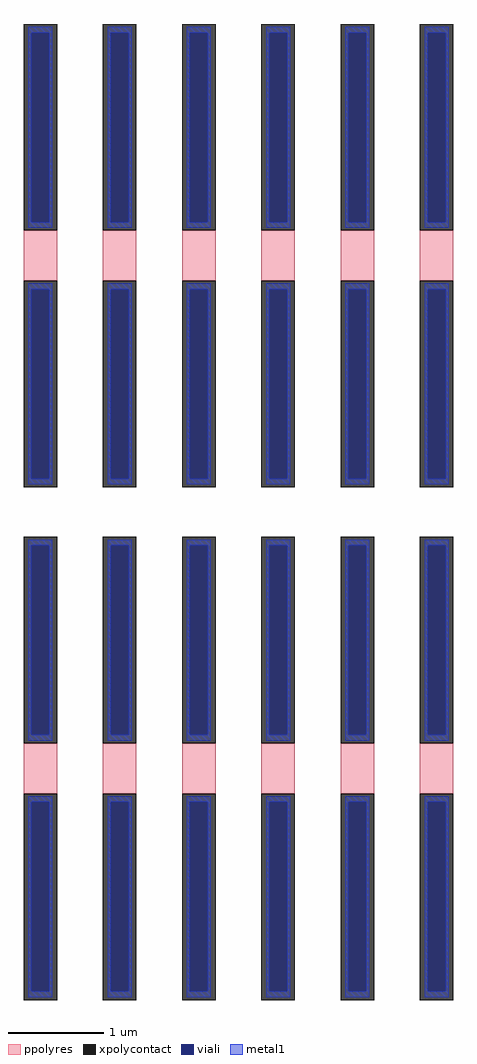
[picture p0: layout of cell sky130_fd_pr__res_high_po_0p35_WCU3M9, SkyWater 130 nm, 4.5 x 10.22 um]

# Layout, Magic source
magic
tech sky130A
magscale 1 2
<< xpolycontact >>
rect -450 590 -380 1022
rect -450 52 -380 484
rect -284 590 -214 1022
rect -284 52 -214 484
rect -118 590 -48 1022
rect -118 52 -48 484
rect 48 590 118 1022
rect 48 52 118 484
rect 214 590 284 1022
rect 214 52 284 484
rect 380 590 450 1022
rect 380 52 450 484
rect -450 -484 -380 -52
rect -450 -1022 -380 -590
rect -284 -484 -214 -52
rect -284 -1022 -214 -590
rect -118 -484 -48 -52
rect -118 -1022 -48 -590
rect 48 -484 118 -52
rect 48 -1022 118 -590
rect 214 -484 284 -52
rect 214 -1022 284 -590
rect 380 -484 450 -52
rect 380 -1022 450 -590
<< ppolyres >>
rect -450 484 -380 590
rect -284 484 -214 590
rect -118 484 -48 590
rect 48 484 118 590
rect 214 484 284 590
rect 380 484 450 590
rect -450 -590 -380 -484
rect -284 -590 -214 -484
rect -118 -590 -48 -484
rect 48 -590 118 -484
rect 214 -590 284 -484
rect 380 -590 450 -484
<< viali >>
rect -434 607 -396 1004
rect -268 607 -230 1004
rect -102 607 -64 1004
rect 64 607 102 1004
rect 230 607 268 1004
rect 396 607 434 1004
rect -434 70 -396 467
rect -268 70 -230 467
rect -102 70 -64 467
rect 64 70 102 467
rect 230 70 268 467
rect 396 70 434 467
rect -434 -467 -396 -70
rect -268 -467 -230 -70
rect -102 -467 -64 -70
rect 64 -467 102 -70
rect 230 -467 268 -70
rect 396 -467 434 -70
rect -434 -1004 -396 -607
rect -268 -1004 -230 -607
rect -102 -1004 -64 -607
rect 64 -1004 102 -607
rect 230 -1004 268 -607
rect 396 -1004 434 -607
<< metal1 >>
rect -440 1004 -390 1016
rect -440 607 -434 1004
rect -396 607 -390 1004
rect -440 595 -390 607
rect -274 1004 -224 1016
rect -274 607 -268 1004
rect -230 607 -224 1004
rect -274 595 -224 607
rect -108 1004 -58 1016
rect -108 607 -102 1004
rect -64 607 -58 1004
rect -108 595 -58 607
rect 58 1004 108 1016
rect 58 607 64 1004
rect 102 607 108 1004
rect 58 595 108 607
rect 224 1004 274 1016
rect 224 607 230 1004
rect 268 607 274 1004
rect 224 595 274 607
rect 390 1004 440 1016
rect 390 607 396 1004
rect 434 607 440 1004
rect 390 595 440 607
rect -440 467 -390 479
rect -440 70 -434 467
rect -396 70 -390 467
rect -440 58 -390 70
rect -274 467 -224 479
rect -274 70 -268 467
rect -230 70 -224 467
rect -274 58 -224 70
rect -108 467 -58 479
rect -108 70 -102 467
rect -64 70 -58 467
rect -108 58 -58 70
rect 58 467 108 479
rect 58 70 64 467
rect 102 70 108 467
rect 58 58 108 70
rect 224 467 274 479
rect 224 70 230 467
rect 268 70 274 467
rect 224 58 274 70
rect 390 467 440 479
rect 390 70 396 467
rect 434 70 440 467
rect 390 58 440 70
rect -440 -70 -390 -58
rect -440 -467 -434 -70
rect -396 -467 -390 -70
rect -440 -479 -390 -467
rect -274 -70 -224 -58
rect -274 -467 -268 -70
rect -230 -467 -224 -70
rect -274 -479 -224 -467
rect -108 -70 -58 -58
rect -108 -467 -102 -70
rect -64 -467 -58 -70
rect -108 -479 -58 -467
rect 58 -70 108 -58
rect 58 -467 64 -70
rect 102 -467 108 -70
rect 58 -479 108 -467
rect 224 -70 274 -58
rect 224 -467 230 -70
rect 268 -467 274 -70
rect 224 -479 274 -467
rect 390 -70 440 -58
rect 390 -467 396 -70
rect 434 -467 440 -70
rect 390 -479 440 -467
rect -440 -607 -390 -595
rect -440 -1004 -434 -607
rect -396 -1004 -390 -607
rect -440 -1016 -390 -1004
rect -274 -607 -224 -595
rect -274 -1004 -268 -607
rect -230 -1004 -224 -607
rect -274 -1016 -224 -1004
rect -108 -607 -58 -595
rect -108 -1004 -102 -607
rect -64 -1004 -58 -607
rect -108 -1016 -58 -1004
rect 58 -607 108 -595
rect 58 -1004 64 -607
rect 102 -1004 108 -607
rect 58 -1016 108 -1004
rect 224 -607 274 -595
rect 224 -1004 230 -607
rect 268 -1004 274 -607
rect 224 -1016 274 -1004
rect 390 -607 440 -595
rect 390 -1004 396 -607
rect 434 -1004 440 -607
rect 390 -1016 440 -1004
<< properties >>
string gencell sky130_fd_pr__res_high_po_0p35
string library sky130
string parameters w 0.350 l 0.69 m 2 nx 6 wmin 0.350 lmin 0.50 rho 319.8 val 1.743k dummy 0 dw 0.0 term 194.82 sterm 0.0 caplen 0 guard 0 glc 1 grc 1 gtc 1 gbc 1 compatible {sky130_fd_pr__res_high_po_0p35  sky130_fd_pr__res_high_po_0p69 sky130_fd_pr__res_high_po_1p41  sky130_fd_pr__res_high_po_2p85 sky130_fd_pr__res_high_po_5p73} snake 0 full_metal 1 wmax 0.350 vias 1 n_guard 1 hv_guard 0 viagb 0 viagt 0 viagl 0 viagr 0
<< end >>
